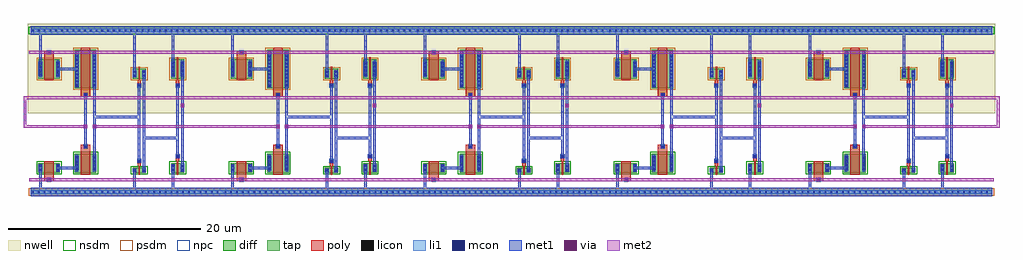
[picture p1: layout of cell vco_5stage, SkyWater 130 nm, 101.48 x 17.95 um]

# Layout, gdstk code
import gdstk
lib = gdstk.Library(unit=1e-6, precision=1e-09)
def R(c, l, rs):  # rectangles x0, y0, x1, y1
    for r in rs: c.add(gdstk.rectangle(r[:2], r[2:], *l))
def A(c, l, x, y, w, h, nx, ny, dx, dy):  # array of equal rectangles
    R(c, l, [(x+i*dx, y+j*dy, x+i*dx+w, y+j*dy+h) for i in range(nx) for j in range(ny)])
nwell = (64, 20)
diff = (65, 20)
tap = (65, 44)
poly = (66, 20)
licon = (66, 44)
li1 = (67, 20)
mcon = (67, 44)
met1 = (68, 20)
via = (68, 44)
met2 = (69, 20)
nsdm = (93, 44)
psdm = (94, 20)
npc = (95, 20)

vco_stage = lib.new_cell('vco_stage')
R(vco_stage, nwell, [(-0.3,8.8,20.3,18.1)])
R(vco_stage, diff, [(0.8,2.6,3.04,3.6), (4.6,2.6,6.84,4.6), (10.6,2.6,11.99,3.1), (14.6,2.6,15.99,3.6), (4.6,11.4,6.84,15.4), (0.8,12.4,3.04,14.4), (10.6,12.4,11.99,13.4), (14.6,12.4,15.99,14.4)])
R(vco_stage, tap, [(0,0.39,20,0.81), (0,17.19,20,17.61)])
R(vco_stage, poly, [(1.42,1.7,2.42,2.6), (1.74,1.7,2.1,2.06), (1.42,2.4,2.42,3.8), (5.22,2.4,6.22,4.8), (11.22,2.4,11.37,3.65), (15.22,2.4,15.37,4.15), (11.115,3.35,11.475,4), (11.115,3.64,11.475,4), (15.115,3.85,15.475,4.5), (15.115,4.14,15.475,4.5), (5.22,4.6,6.22,5.5), (5.54,5.14,5.9,5.5), (5.22,10.5,6.22,11.4), (5.54,10.5,5.9,10.86), (5.22,11.2,6.22,15.6), (11.115,11.5,11.475,11.86), (11.115,11.5,11.475,12.15), (15.115,11.5,15.475,11.86), (15.115,11.5,15.475,12.15), (11.22,11.85,11.37,13.6), (15.22,11.85,15.37,14.6), (1.42,12.2,2.42,14.6), (1.42,14.4,2.42,15.3), (1.74,14.94,2.1,15.3)])
A(vco_stage, licon, 0.165, 0.515, 0.17, 0.17, 33, 2, 0.6, 16.8)
A(vco_stage, licon, 4.73, 2.795, 0.17, 0.17, 1, 5, 0, 0.36)
A(vco_stage, licon, 6.54, 2.795, 0.17, 0.17, 1, 5, 0, 0.36)
A(vco_stage, licon, 4.73, 11.695, 0.17, 0.17, 1, 10, 0, 0.36)
A(vco_stage, licon, 6.54, 11.695, 0.17, 0.17, 1, 10, 0, 0.36)
A(vco_stage, licon, 0.93, 12.595, 0.17, 0.17, 1, 5, 0, 0.36)
A(vco_stage, licon, 2.74, 12.595, 0.17, 0.17, 1, 5, 0, 0.36)
A(vco_stage, licon, 14.73, 12.595, 0.17, 0.17, 1, 5, 0, 0.36)
A(vco_stage, licon, 15.69, 12.595, 0.17, 0.17, 1, 5, 0, 0.36)
R(vco_stage, licon, [(1.835,1.795,2.005,1.965), (10.73,2.765,10.9,2.935), (11.69,2.765,11.86,2.935), (0.93,2.835,1.1,3.005), (2.74,2.835,2.91,3.005), (14.73,2.835,14.9,3.005), (15.69,2.835,15.86,3.005), (0.93,3.195,1.1,3.365), (2.74,3.195,2.91,3.365), (14.73,3.195,14.9,3.365), (15.69,3.195,15.86,3.365), (11.21,3.735,11.38,3.905), (15.21,4.235,15.38,4.405), (5.635,5.235,5.805,5.405), (5.635,10.595,5.805,10.765), (11.21,11.595,11.38,11.765), (15.21,11.595,15.38,11.765), (10.73,12.635,10.9,12.805), (11.69,12.635,11.86,12.805), (10.73,12.995,10.9,13.165), (11.69,12.995,11.86,13.165), (1.835,15.035,2.005,15.205)])
R(vco_stage, li1, [(0,0.42,20,0.78), (1.73,1.69,2.11,2.07), (10.665,2.66,10.965,3.04), (11.625,2.66,11.925,3.04), (10.665,2.685,10.965,3.015), (11.625,2.685,11.925,3.015), (4.665,2.71,4.965,4.49), (6.475,2.71,6.775,4.49), (0.865,2.745,1.165,3.455), (2.675,2.745,2.975,3.455), (14.665,2.745,14.965,3.455), (15.625,2.745,15.925,3.455), (0.865,2.75,1.165,3.45), (2.675,2.75,2.975,3.45), (14.665,2.75,14.965,3.45), (15.625,2.75,15.925,3.45), (4.665,2.865,4.965,4.335), (6.475,2.865,6.775,4.335), (11.105,3.63,11.485,4.01), (15.105,4.13,15.485,4.51), (5.53,5.13,5.91,5.51), (5.53,10.49,5.91,10.87), (11.105,11.49,11.485,11.87), (15.105,11.49,15.485,11.87), (4.665,11.525,4.965,15.275), (6.475,11.525,6.775,15.275), (4.665,11.61,4.965,15.19), (6.475,11.61,6.775,15.19), (0.865,12.51,1.165,14.29), (2.675,12.51,2.975,14.29), (14.665,12.51,14.965,14.29), (15.625,12.51,15.925,14.29), (10.665,12.545,10.965,13.255), (11.625,12.545,11.925,13.255), (10.665,12.55,10.965,13.25), (11.625,12.55,11.925,13.25), (0.865,12.665,1.165,14.135), (2.675,12.665,2.975,14.135), (14.665,12.665,14.965,14.135), (15.625,12.665,15.925,14.135), (1.73,14.93,2.11,15.31), (0,17.22,20,17.58)])
A(vco_stage, mcon, 0.165, 0.515, 0.17, 0.17, 33, 2, 0.6, 16.8)
A(vco_stage, mcon, 4.73, 2.945, 0.17, 0.17, 1, 4, 0, 0.38)
A(vco_stage, mcon, 6.54, 2.945, 0.17, 0.17, 1, 4, 0, 0.38)
A(vco_stage, mcon, 4.73, 11.605, 0.17, 0.17, 1, 10, 0, 0.38)
A(vco_stage, mcon, 6.54, 11.605, 0.17, 0.17, 1, 10, 0, 0.38)
A(vco_stage, mcon, 0.93, 12.745, 0.17, 0.17, 1, 4, 0, 0.38)
A(vco_stage, mcon, 2.74, 12.745, 0.17, 0.17, 1, 4, 0, 0.38)
A(vco_stage, mcon, 14.73, 12.745, 0.17, 0.17, 1, 4, 0, 0.38)
A(vco_stage, mcon, 15.69, 12.745, 0.17, 0.17, 1, 4, 0, 0.38)
R(vco_stage, mcon, [(1.835,1.795,2.005,1.965), (10.73,2.765,10.9,2.935), (11.69,2.765,11.86,2.935), (0.93,2.825,1.1,2.995), (2.74,2.825,2.91,2.995), (14.73,2.825,14.9,2.995), (15.69,2.825,15.86,2.995), (0.93,3.205,1.1,3.375), (2.74,3.205,2.91,3.375), (14.73,3.205,14.9,3.375), (15.69,3.205,15.86,3.375), (11.21,3.735,11.38,3.905), (15.21,4.235,15.38,4.405), (5.635,5.235,5.805,5.405), (5.635,10.595,5.805,10.765), (11.21,11.595,11.38,11.765), (15.21,11.595,15.38,11.765), (10.73,12.625,10.9,12.795), (11.69,12.625,11.86,12.795), (10.73,13.005,10.9,13.175), (11.69,13.005,11.86,13.175), (1.835,15.035,2.005,15.205)])
R(vco_stage, met1, [(0,0.15,20,1.05), (0,0.2,20,1), (0.885,0.47,1.145,3.23), (10.685,0.47,10.945,2.98), (14.685,0.47,14.945,3.23), (1.73,1.69,2.11,2.07), (1.74,1.7,2.1,2.06), (10.635,2.665,10.995,3.035), (11.595,2.665,11.955,3.035), (11.645,2.72,11.905,13.03), (0.835,2.725,1.195,3.475), (2.645,2.725,3.005,3.475), (14.635,2.725,14.995,3.475), (15.595,2.725,15.955,3.475), (4.635,2.845,4.995,4.355), (6.445,2.845,6.805,4.355), (2.695,2.97,2.955,3.23), (2.695,2.97,4.945,3.23), (4.685,2.97,4.945,3.73), (15.645,2.97,15.905,13.53), (6.495,3.47,6.755,13.53), (11.105,3.63,11.485,4.01), (11.165,3.69,11.425,11.81), (15.105,4.13,15.485,4.51), (15.165,4.19,15.425,11.81), (5.53,5.13,5.91,5.51), (5.59,5.19,5.85,10.81), (11.645,6.07,15.425,6.33), (5.54,7.22,5.9,7.58), (6.445,7.22,6.805,7.58), (6.495,8.27,11.425,8.53), (15.595,9.42,15.955,9.78), (5.53,10.49,5.91,10.87), (11.105,11.49,11.485,11.87), (15.105,11.49,15.485,11.87), (4.635,11.505,4.995,15.295), (6.445,11.505,6.805,15.295), (10.635,12.525,10.995,13.275), (11.595,12.525,11.955,13.275), (0.835,12.645,1.195,14.155), (2.645,12.645,3.005,14.155), (14.635,12.645,14.995,14.155), (15.595,12.645,15.955,14.155), (10.685,12.77,10.945,17.53), (0.885,13.27,1.145,17.53), (2.695,13.27,2.955,13.53), (2.695,13.27,4.945,13.53), (4.685,13.27,4.945,13.53), (14.685,13.27,14.945,17.53), (1.73,14.93,2.11,15.31), (1.74,14.94,2.1,15.3), (0,16.95,20,17.85), (0,17,20,17.8)])
R(vco_stage, via, [(1.845,1.805,1.995,1.955), (5.645,7.325,5.795,7.475), (6.55,7.325,6.7,7.475), (15.7,9.525,15.85,9.675), (1.845,15.045,1.995,15.195)])
R(vco_stage, met2, [(1.74,1.7,2.1,2.06), (-0.14,1.74,20.14,2.02), (5.54,7.22,5.9,7.58), (6.445,7.22,6.805,7.58), (-0.14,7.26,5.86,7.54), (6.485,7.26,20.14,7.54), (15.595,9.42,15.955,9.78), (1.74,14.94,2.1,15.3), (-0.14,14.98,20.14,15.26)])
R(vco_stage, nsdm, [(0.62,2.42,3.22,3.78), (4.42,2.42,7.02,4.78), (10.42,2.42,12.17,3.28), (14.42,2.42,16.17,3.78), (-0.18,17.01,20.18,17.79)])
R(vco_stage, psdm, [(-0.18,0.21,20.18,0.99), (4.42,11.22,7.02,15.58), (0.62,12.22,3.22,14.58), (10.42,12.22,12.17,13.58), (14.42,12.22,16.17,14.58)])
R(vco_stage, npc, [(1.7,1.66,2.14,2.1), (11.075,3.6,11.515,4.04), (15.075,4.1,15.515,4.54), (5.5,5.1,5.94,5.54), (5.5,10.46,5.94,10.9), (11.075,11.46,11.515,11.9), (15.075,11.46,15.515,11.9), (1.7,14.9,2.14,15.34)])

vco_5stage = lib.new_cell('vco_5stage')
R(vco_5stage, met2, [(-0.74,7.26,0.14,7.54), (-0.74,7.26,-0.46,10.54), (99.86,7.26,100.74,7.54), (100.46,7.26,100.74,10.54), (-0.74,10.26,100.74,10.54)])
vco_5stage.add(gdstk.Reference(vco_stage, (0,0)))
vco_5stage.add(gdstk.Reference(vco_stage, (20,0)))
vco_5stage.add(gdstk.Reference(vco_stage, (40,0)))
vco_5stage.add(gdstk.Reference(vco_stage, (60,0)))
vco_5stage.add(gdstk.Reference(vco_stage, (80,0)))

lib.write_gds('vco_5stage.gds')
